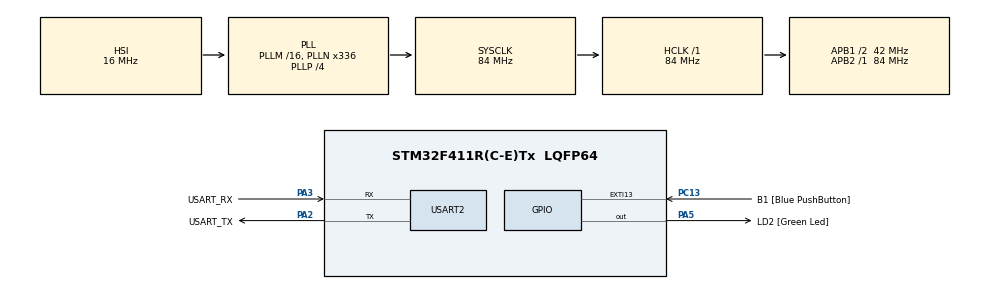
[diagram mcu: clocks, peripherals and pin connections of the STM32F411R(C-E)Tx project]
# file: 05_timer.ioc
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Mcu.Family=STM32F4
Mcu.Name=STM32F411R(C-E)Tx
Mcu.Package=LQFP64
NVIC.PriorityGroup=NVIC_PRIORITYGROUP_0
PA13.GPIO_Label=TMS
PA13.Mode=Serial_Wire
PA13.Signal=SYS_JTMS-SWDIO
PA14.GPIO_Label=TCK
PA14.Mode=Serial_Wire
PA14.Signal=SYS_JTCK-SWCLK
PA2.GPIO_Label=USART_TX
PA2.Mode=Asynchronous
PA2.Signal=USART2_TX
PA3.GPIO_Label=USART_RX
PA3.Mode=Asynchronous
PA3.Signal=USART2_RX
PA5.GPIO_Label=LD2 [Green Led]
PA5.Signal=GPIO_Output
PB3.GPIO_Label=SWO
PB3.Signal=SYS_JTDO-SWO
PC13-ANTI_TAMP.GPIO_Label=B1 [Blue PushButton]
PC13-ANTI_TAMP.GPIO_ModeDefaultEXTI=GPIO_MODE_IT_FALLING
PC13-ANTI_TAMP.Signal=GPXTI13
PC14-OSC32_IN.Mode=LSE-External-Oscillator
PC14-OSC32_IN.Signal=RCC_OSC32_IN
PC15-OSC32_OUT.Mode=LSE-External-Oscillator
PC15-OSC32_OUT.Signal=RCC_OSC32_OUT
PH0\ -\ OSC_IN.Mode=HSE-External-Clock-Source
PH0\ -\ OSC_IN.Signal=RCC_OSC_IN
PH1\ -\ OSC_OUT.Mode=HSE-External-Clock-Source
PH1\ -\ OSC_OUT.Signal=RCC_OSC_OUT
ProjectManager.HeapSize=0x200
ProjectManager.StackSize=0x400
ProjectManager.TargetToolchain=STM32CubeIDE
RCC.48MHZClocksFreq_Value=84000000
RCC.AHBFreq_Value=84000000
RCC.APB1CLKDivider=RCC_HCLK_DIV2
RCC.APB1Freq_Value=42000000
RCC.APB1TimFreq_Value=84000000
RCC.APB2Freq_Value=84000000
RCC.APB2TimFreq_Value=84000000
RCC.CortexFreq_Value=84000000
RCC.FLatency-AdvancedSettings=FLASH_LATENCY_2
RCC.HCLKFreq_Value=84000000
RCC.HSE_VALUE=8000000
RCC.HSI_VALUE=16000000
RCC.PLLN=336
RCC.PLLP=RCC_PLLP_DIV4
RCC.SYSCLKFreq_VALUE=84000000
RCC.SYSCLKSource=RCC_SYSCLKSOURCE_PLLCLK
RCC.VCOOutputFreq_Value=336000000
USART2.VirtualMode=VM_ASYNC
board=NUCLEO-F411RE

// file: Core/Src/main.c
/* USER CODE BEGIN Header */
/**
  ******************************************************************************
  * @file           : main.c
  * @brief          : Main program body
  ******************************************************************************
  * @attention
  *
  * Copyright (c) 2026 STMicroelectronics.
  * All rights reserved.
  *
  * This software is licensed under terms that can be found in the LICENSE file
  * in the root directory of this software component.
  * If no LICENSE file comes with this software, it is provided AS-IS.
  *
  ******************************************************************************
  */
/* USER CODE END Header */
#include "main.h"

/* USER CODE BEGIN PD */
#define RCCAHB1ENR 	(*(volatile uint32_t *) 0x40023830)

#define GPIOA_MODER (*(volatile uint32_t *) 0x40020000)
#define GPIOA_ODR 	(*(volatile uint32_t *) 0x40020014)
#define GPIOA_BSRR 	(*(volatile uint32_t *) 0x40020018)

#define GPIOC_IDR 	(*(volatile uint32_t *) 0x40020810)
/* USER CODE END PD */

UART_HandleTypeDef huart2;

/* USER CODE BEGIN PV */
 uint32_t last_toggle = 0;
 uint32_t now = 0;
/* USER CODE END PV */

void SystemClock_Config(void);
static void MX_GPIO_Init(void);
static void MX_USART2_UART_Init(void);

int main(void)
{

  /* MCU Configuration--------------------------------------------------------*/

  /* Reset of all peripherals, Initializes the Flash interface and the Systick. */
  HAL_Init();

  /* Configure the system clock */
  SystemClock_Config();

  /* Initialize all configured peripherals */
//  MX_GPIO_Init();
  MX_USART2_UART_Init();

  /* USER CODE BEGIN 2 */
  RCCAHB1ENR |= (1 << 0);				   // Тактирование GPIOA
  GPIOA_MODER &= ~((1 << 10) | (1 << 11)); // Очистка режима
  GPIOA_MODER |= (1 << 10);				   // Установка режима ВЫХОД

  RCCAHB1ENR |= (1 << 2);				   // Тактирование GPIOC
  /* USER CODE END 2 */

  /* Infinite loop */
  while (1)
  {

    /* USER CODE BEGIN 3 */
	  now = HAL_GetTick();
	  uint32_t btn_down = !(GPIOC_IDR & (1 << 13));

	  if(btn_down) {
		  GPIOA_BSRR = (1 << 5);
	  }
	  else if(now - last_toggle >= 500) {
		  last_toggle = now;
		  if(!(GPIOA_ODR & (1 << 5))) {
			  GPIOA_BSRR = (1 << 5);
		  }
		  else {
			  GPIOA_BSRR = (1 << (5+16));
		  }
	  }
  }
  /* USER CODE END 3 */
}

void SystemClock_Config(void)
{
  RCC_OscInitTypeDef RCC_OscInitStruct = {0};
  RCC_ClkInitTypeDef RCC_ClkInitStruct = {0};

  /** Configure the main internal regulator output voltage
  */
  __HAL_RCC_PWR_CLK_ENABLE();
  __HAL_PWR_VOLTAGESCALING_CONFIG(PWR_REGULATOR_VOLTAGE_SCALE1);

  /** Initializes the RCC Oscillators according to the specified parameters
  * in the RCC_OscInitTypeDef structure.
  */
  RCC_OscInitStruct.OscillatorType = RCC_OSCILLATORTYPE_HSI;
  RCC_OscInitStruct.HSIState = RCC_HSI_ON;
  RCC_OscInitStruct.HSICalibrationValue = RCC_HSICALIBRATION_DEFAULT;
  RCC_OscInitStruct.PLL.PLLState = RCC_PLL_ON;
  RCC_OscInitStruct.PLL.PLLSource = RCC_PLLSOURCE_HSI;
  RCC_OscInitStruct.PLL.PLLM = 16;
  RCC_OscInitStruct.PLL.PLLN = 336;
  RCC_OscInitStruct.PLL.PLLP = RCC_PLLP_DIV4;
  RCC_OscInitStruct.PLL.PLLQ = 4;
  if (HAL_RCC_OscConfig(&RCC_OscInitStruct) != HAL_OK)
  {
    Error_Handler();
  }

  /** Initializes the CPU, AHB and APB buses clocks
  */
  RCC_ClkInitStruct.ClockType = RCC_CLOCKTYPE_HCLK|RCC_CLOCKTYPE_SYSCLK
                              |RCC_CLOCKTYPE_PCLK1|RCC_CLOCKTYPE_PCLK2;
  RCC_ClkInitStruct.SYSCLKSource = RCC_SYSCLKSOURCE_PLLCLK;
  RCC_ClkInitStruct.AHBCLKDivider = RCC_SYSCLK_DIV1;
  RCC_ClkInitStruct.APB1CLKDivider = RCC_HCLK_DIV2;
  RCC_ClkInitStruct.APB2CLKDivider = RCC_HCLK_DIV1;

  if (HAL_RCC_ClockConfig(&RCC_ClkInitStruct, FLASH_LATENCY_2) != HAL_OK)
  {
    Error_Handler();
  }
}

static void MX_USART2_UART_Init(void)
{

  huart2.Instance = USART2;
  huart2.Init.BaudRate = 115200;
  huart2.Init.WordLength = UART_WORDLENGTH_8B;
  huart2.Init.StopBits = UART_STOPBITS_1;
  huart2.Init.Parity = UART_PARITY_NONE;
  huart2.Init.Mode = UART_MODE_TX_RX;
  huart2.Init.HwFlowCtl = UART_HWCONTROL_NONE;
  huart2.Init.OverSampling = UART_OVERSAMPLING_16;
  if (HAL_UART_Init(&huart2) != HAL_OK)
  {
    Error_Handler();
  }

}

static void MX_GPIO_Init(void)
{
  GPIO_InitTypeDef GPIO_InitStruct = {0};

  /* GPIO Ports Clock Enable */
  __HAL_RCC_GPIOC_CLK_ENABLE();
  __HAL_RCC_GPIOH_CLK_ENABLE();
  __HAL_RCC_GPIOA_CLK_ENABLE();
  __HAL_RCC_GPIOB_CLK_ENABLE();

  /*Configure GPIO pin Output Level */
  HAL_GPIO_WritePin(LD2_GPIO_Port, LD2_Pin, GPIO_PIN_RESET);

  /*Configure GPIO pin : B1_Pin */
  GPIO_InitStruct.Pin = B1_Pin;
  GPIO_InitStruct.Mode = GPIO_MODE_IT_FALLING;
  GPIO_InitStruct.Pull = GPIO_NOPULL;
  HAL_GPIO_Init(B1_GPIO_Port, &GPIO_InitStruct);

  /*Configure GPIO pin : LD2_Pin */
  GPIO_InitStruct.Pin = LD2_Pin;
  GPIO_InitStruct.Mode = GPIO_MODE_OUTPUT_PP;
  GPIO_InitStruct.Pull = GPIO_NOPULL;
  GPIO_InitStruct.Speed = GPIO_SPEED_FREQ_LOW;
  HAL_GPIO_Init(LD2_GPIO_Port, &GPIO_InitStruct);

}

void Error_Handler(void)
{
  __disable_irq();
  while (1)
  {
  }
}
